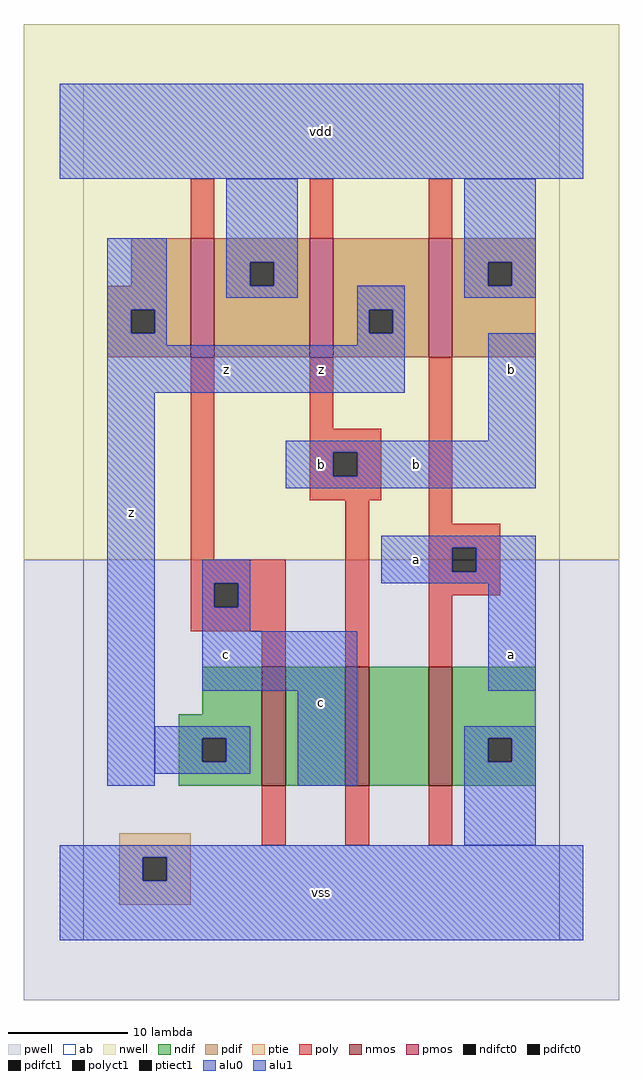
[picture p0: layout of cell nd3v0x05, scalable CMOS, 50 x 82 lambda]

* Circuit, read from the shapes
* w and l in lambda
.subckt nd3v0x05 a b c vdd vss z
M1 n1 c z vss nfet w=10 l=2
M2 n2 b n1 vss nfet w=10 l=2
M3 vss a n2 vss nfet w=10 l=2
M4 vdd c z n3 pfet w=10 l=2
M5 z b vdd n3 pfet w=10 l=2
M6 vdd a z n3 pfet w=10 l=2
.ends

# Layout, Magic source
magic
tech scmos
<< ab >>
rect 0 0 40 72
<< nwell >>
rect -5 32 45 77
<< pwell >>
rect -5 -5 45 32
<< poly >>
rect 9 59 11 64
rect 19 59 21 64
rect 29 59 31 64
rect 9 32 11 49
rect 19 43 21 49
rect 19 41 25 43
rect 19 39 21 41
rect 23 39 25 41
rect 19 37 25 39
rect 9 30 17 32
rect 9 28 11 30
rect 13 28 17 30
rect 9 26 17 28
rect 15 23 17 26
rect 22 23 24 37
rect 29 35 31 49
rect 29 33 35 35
rect 29 31 31 33
rect 33 31 35 33
rect 29 29 35 31
rect 29 23 31 29
rect 15 8 17 13
rect 22 8 24 13
rect 29 8 31 13
<< ndif >>
rect 10 19 15 23
rect 8 17 15 19
rect 8 15 10 17
rect 12 15 15 17
rect 8 13 15 15
rect 17 13 22 23
rect 24 13 29 23
rect 31 17 38 23
rect 31 15 34 17
rect 36 15 38 17
rect 31 13 38 15
<< pdif >>
rect 4 55 9 59
rect 2 53 9 55
rect 2 51 4 53
rect 6 51 9 53
rect 2 49 9 51
rect 11 57 19 59
rect 11 55 14 57
rect 16 55 19 57
rect 11 49 19 55
rect 21 53 29 59
rect 21 51 24 53
rect 26 51 29 53
rect 21 49 29 51
rect 31 57 38 59
rect 31 55 34 57
rect 36 55 38 57
rect 31 49 38 55
<< alu1 >>
rect -2 64 42 72
rect 2 53 7 59
rect 2 51 4 53
rect 6 51 7 53
rect 2 50 7 51
rect 23 53 27 55
rect 23 51 24 53
rect 26 51 27 53
rect 23 50 27 51
rect 2 46 27 50
rect 2 13 6 46
rect 34 42 38 51
rect 17 41 38 42
rect 17 39 21 41
rect 23 39 38 41
rect 17 38 38 39
rect 25 33 38 34
rect 10 30 14 32
rect 25 31 31 33
rect 33 31 38 33
rect 25 30 38 31
rect 10 28 11 30
rect 13 28 14 30
rect 10 26 14 28
rect 10 21 23 26
rect 34 21 38 30
rect 18 13 23 21
rect -2 7 42 8
rect -2 5 5 7
rect 7 5 42 7
rect -2 0 42 5
<< ptie >>
rect 3 7 9 9
rect 3 5 5 7
rect 7 5 9 7
rect 3 3 9 5
<< nmos >>
rect 15 13 17 23
rect 22 13 24 23
rect 29 13 31 23
<< pmos >>
rect 9 49 11 59
rect 19 49 21 59
rect 29 49 31 59
<< polyct1 >>
rect 21 39 23 41
rect 11 28 13 30
rect 31 31 33 33
<< ndifct0 >>
rect 10 15 12 17
rect 34 15 36 17
<< ptiect1 >>
rect 5 5 7 7
<< pdifct0 >>
rect 14 55 16 57
rect 34 55 36 57
<< pdifct1 >>
rect 4 51 6 53
rect 24 51 26 53
<< alu0 >>
rect 12 57 18 64
rect 12 55 14 57
rect 16 55 18 57
rect 32 57 38 64
rect 32 55 34 57
rect 36 55 38 57
rect 12 54 18 55
rect 32 54 38 55
rect 6 17 14 18
rect 6 15 10 17
rect 12 15 14 17
rect 6 14 14 15
rect 32 17 38 18
rect 32 15 34 17
rect 36 15 38 17
rect 32 8 38 15
<< labels >>
rlabel alu1 4 36 4 36 6 z
rlabel alu1 12 24 12 24 6 c
rlabel alu1 12 48 12 48 6 z
rlabel alu1 20 4 20 4 6 vss
rlabel alu1 20 20 20 20 6 c
rlabel alu1 28 32 28 32 6 a
rlabel alu1 28 40 28 40 6 b
rlabel alu1 20 40 20 40 6 b
rlabel alu1 20 48 20 48 6 z
rlabel alu1 20 68 20 68 6 vdd
rlabel alu1 36 24 36 24 6 a
rlabel alu1 36 48 36 48 6 b
<< end >>
